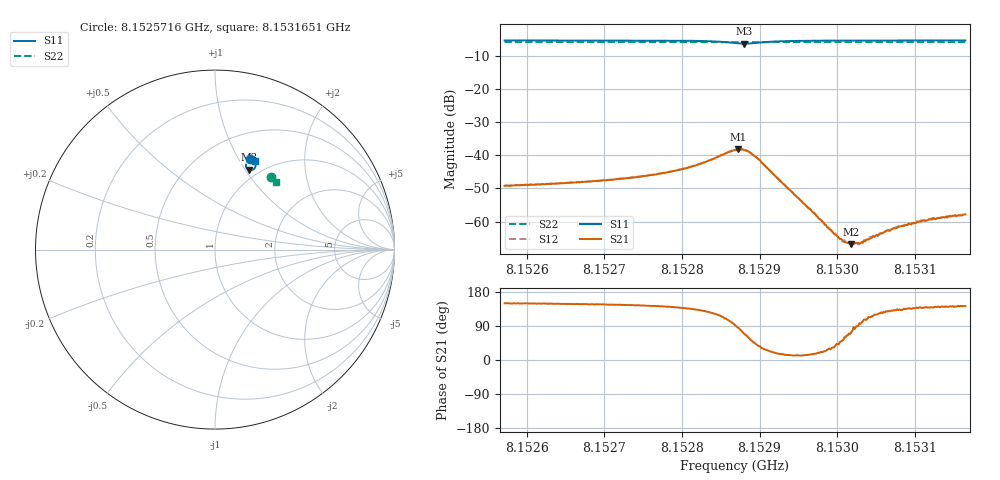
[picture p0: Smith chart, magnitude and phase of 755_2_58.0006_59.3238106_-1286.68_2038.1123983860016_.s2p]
#  HZ  S  RI  R  50.00
! Rohde & Schwarz Vector Network Analyzer
! Rohde-Schwarz,ZNB20-2Port,1311601062101988,3.16
! Created: UTC 3/21/2024, 1:24:09 AM
! freq[Hz]  re:S11  im:S11  re:S21  im:S21  re:S12  im:S12  re:S22  im:S22
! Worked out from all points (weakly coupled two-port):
!   401 points, 8.1525716 GHz to 8.1531651 GHz, reference 50 ohm
!   highest |S21| = -38.18 dB at 8.1528728 GHz (marker M1); lowest = -66.9 dB at 8.1530182 GHz (marker M2)
!   lowest |S11| = -6.3 dB at 8.1528802 GHz (marker M3), VSWR 2.87, Z = 44.8 + j52 ohm
!   |S11| at or under -10 dB: nowhere
!   |S22| runs from -5.9 to -5.8 dB; largest |S21 - S12| = 0.00034
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8.15257162e9  0.1942 0.5043  -0.00299 0.00175  -0.003 0.00179  0.3136 0.4034
8.15267103e9  0.2028 0.5006  -0.00333 0.00212  -0.00334 0.00218  0.3185 0.3994
8.15272592e9  0.2085 0.4978  -0.00366 0.00256  -0.00366 0.00263  0.3212 0.397
8.15277044e9  0.2144 0.4938  -0.00416 0.00325  -0.00412 0.00332  0.3236 0.395
8.15281643e9  0.2224 0.4848  -0.00481 0.00504  -0.00477 0.00517  0.3257 0.3928
8.15286836e9  0.2116 0.4458  -0.000403 0.012  -0.000178 0.0121  0.3271 0.3895
8.15287282e9  0.2039 0.4432  0.00112 0.0123  0.0014 0.0123  0.3271 0.3892
8.15288024e9  0.1893 0.4446  0.00426 0.0112  0.00432 0.0113  0.3267 0.3892
8.15288765e9  0.1776 0.4533  0.00639 0.00908  0.00641 0.00889  0.3268 0.3894
8.15289804e9  0.1718 0.4695  0.00699 0.00539  0.00709 0.00546  0.3274 0.3896
8.15296778e9  0.1978 0.4976  0.00136 0.000359  0.00139 0.000361  0.332 0.3876
8.15298706e9  0.202 0.4976  0.00073 0.000378  0.000738 0.000355  0.333 0.3865
8.15299448e9  0.2035 0.4976  0.000575 0.000378  0.000589 0.000404  0.3333 0.3863
8.15300339e9  0.205 0.4975  0.000367 0.000406  0.000392 0.000379  0.334 0.3859
8.1530108e9  0.2061 0.4974  0.000245 0.000422  0.000224 0.000432  0.3341 0.3856
8.15301822e9  0.2071 0.4972  0.000128 0.000434  0.000119 0.000409  0.3345 0.3853
8.15303009e9  0.2089 0.4969  -4.76e-05 0.000472  -4.08e-05 0.000486  0.3351 0.3848
8.15304345e9  0.2104 0.4966  -0.000223 0.000516  -0.000256 0.000533  0.3358 0.3841
8.15306719e9  0.2133 0.4958  -0.000453 0.000567  -0.000446 0.000581  0.3368 0.3832
8.15307312e9  0.2138 0.4957  -0.000523 0.000596  -0.000533 0.000598  0.3372 0.3829
8.15310873e9  0.2174 0.4946  -0.000763 0.000703  -0.000763 0.000698  0.339 0.3813
8.15316512e9  0.2221 0.4928  -0.00102 0.000788  -0.000992 0.00081  0.3415 0.3789
